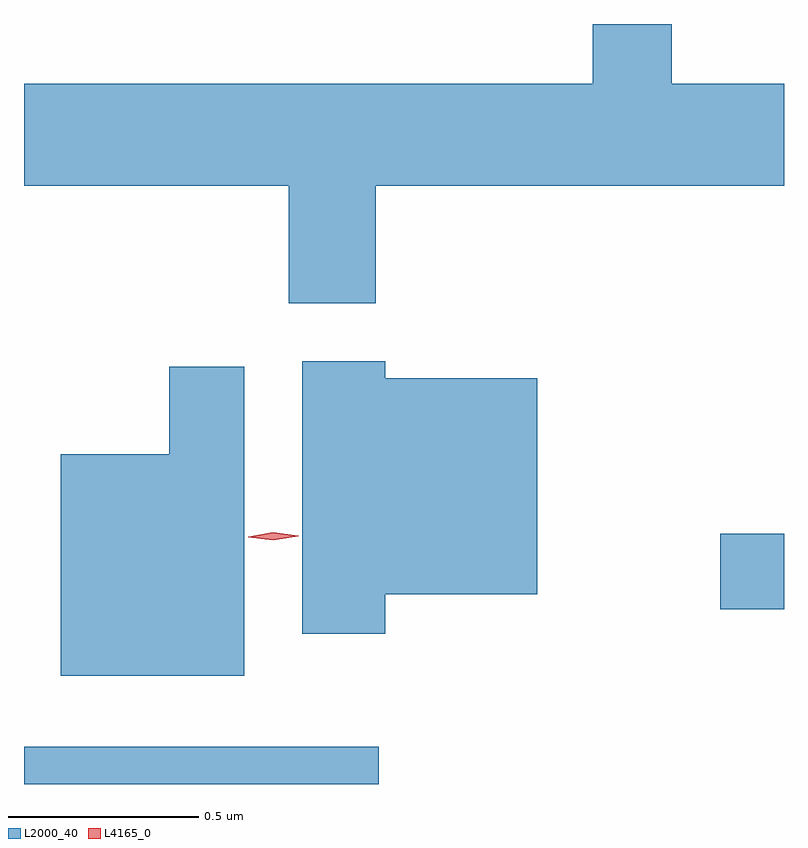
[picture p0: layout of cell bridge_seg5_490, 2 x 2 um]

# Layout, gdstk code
import gdstk
lib = gdstk.Library(unit=1e-6, precision=1e-09)
def R(c, l, rs):  # rectangles x0, y0, x1, y1
    for r in rs: c.add(gdstk.rectangle(r[:2], r[2:], *l))
def P(c, l, *ps):  # polygons
    for p in ps: c.add(gdstk.Polygon(p, *l))
L2000_40 = (2000, 40)
L4165_0 = (4165, 0)

bridge_seg5_490 = lib.new_cell('bridge_seg5_490')
R(bridge_seg5_490, L2000_40, [(515.354,1424.141,516.288,1424.239), (517.186,1424.601,517.354,1424.799)])
P(bridge_seg5_490, L2000_40, [(516.279,1425.716),(517.354,1425.716),(517.354,1425.984),(517.059,1425.984),(517.059,1426.141),(516.851,1426.141),(516.851,1425.984),(515.354,1425.984),(515.354,1425.716),(516.051,1425.716),(516.051,1425.406),(516.279,1425.406)],
  [(516.304,1424.641),(516.704,1424.641),(516.704,1425.209),(516.304,1425.209),(516.304,1425.254),(516.086,1425.254),(516.086,1424.536),(516.304,1424.536)],
  [(515.934,1425.239),(515.736,1425.239),(515.736,1425.009),(515.451,1425.009),(515.451,1424.426),(515.934,1424.426)])
P(bridge_seg5_490, L4165_0, [(516.01,1424.783),(515.944,1424.791),(515.944,1424.792),(515.944,1424.792),(516.01,1424.803),(516.076,1424.794),(516.077,1424.794),(516.076,1424.793)])

lib.write_gds('bridge_seg5_490.gds')
